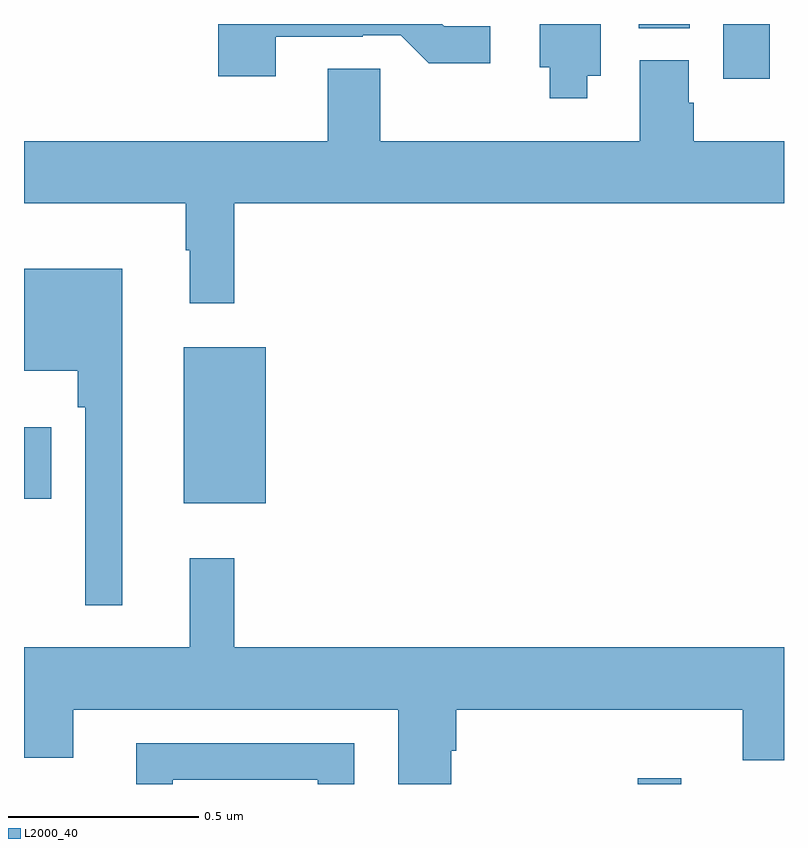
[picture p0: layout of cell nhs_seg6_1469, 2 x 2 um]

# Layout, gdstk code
import gdstk
lib = gdstk.Library(unit=1e-6, precision=1e-09)
def R(c, l, rs):  # rectangles x0, y0, x1, y1
    for r in rs: c.add(gdstk.rectangle(r[:2], r[2:], *l))
def P(c, l, *ps):  # polygons
    for p in ps: c.add(gdstk.Polygon(p, *l))
L2000_40 = (2000, 40)

nhs_seg6_1469 = lib.new_cell('nhs_seg6_1469')
R(nhs_seg6_1469, L2000_40, [(131.615,920.5,131.73,920.515), (130.421,921.239,130.636,921.649), (130,921.251,130.072,921.439), (131.84,922.356,131.962,922.5), (131.618,922.489,131.752,922.5)])
P(nhs_seg6_1469, L2000_40, [(131.482,922.364),(131.518,922.364),(131.518,922.5),(131.357,922.5),(131.357,922.386),(131.384,922.386),(131.384,922.304),(131.482,922.304)],
  [(130.663,922.467),(130.892,922.467),(130.892,922.47),(130.992,922.47),(131.065,922.397),(131.227,922.397),(131.227,922.494),(131.106,922.494),(131.1,922.5),(130.511,922.5),(130.511,922.362),(130.663,922.362)],
  [(131.749,922.293),(131.749,922.404),(131.621,922.404),(131.621,922.192),(130.938,922.192),(130.938,922.382),(130.799,922.382),(130.799,922.192),(130,922.192),(130,922.028),(130.425,922.028),(130.425,921.905),(130.436,921.905),(130.436,921.765),(130.553,921.765),(130.553,922.028),(132,922.028),(132,922.192),(131.762,922.192),(131.762,922.293)],
  [(130.258,921.856),(130,921.856),(130,921.587),(130.141,921.587),(130.141,921.491),(130.161,921.491),(130.161,920.97),(130.258,920.97)],
  [(131.124,920.587),(131.138,920.587),(131.138,920.696),(131.891,920.696),(131.891,920.563),(132,920.563),(132,920.86),(130.553,920.86),(130.553,921.094),(130.436,921.094),(130.436,920.86),(130,920.86),(130,920.569),(130.129,920.569),(130.129,920.696),(130.985,920.696),(130.985,920.5),(131.124,920.5)],
  [(130.392,920.511),(130.773,920.511),(130.773,920.5),(130.869,920.5),(130.869,920.607),(130.295,920.607),(130.295,920.5),(130.392,920.5)])

lib.write_gds('nhs_seg6_1469.gds')
